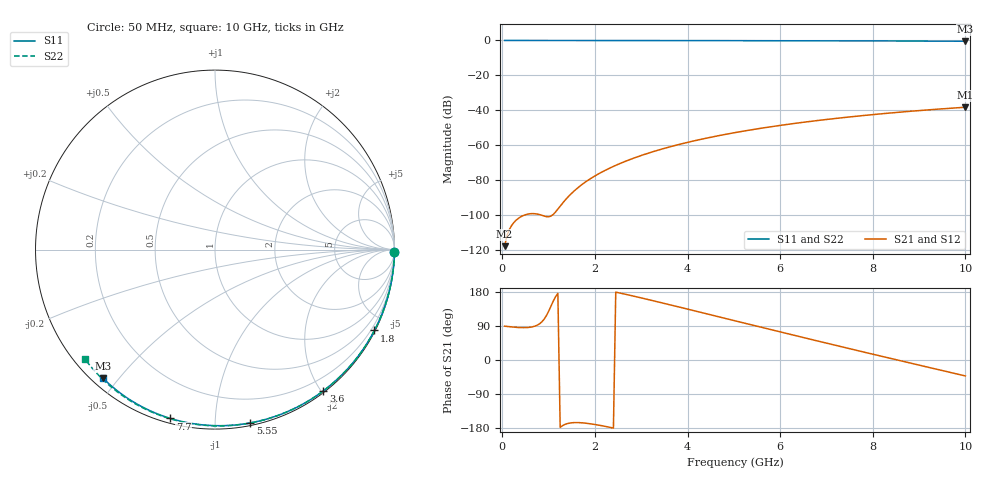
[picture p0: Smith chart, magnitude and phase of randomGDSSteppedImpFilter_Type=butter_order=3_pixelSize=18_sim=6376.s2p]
! freq	dB(S11)	phase(S11)	dB(S12)	phase(S12)
!  dB(S21)	phase(S21)	dB(S22)	phase(S22)
!S-par simulation data
#  GHz  S  DB  R 50
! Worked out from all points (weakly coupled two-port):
!   200 points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, 50 MHz to 10 GHz, reference 50 ohm
!   highest |S21| = -38.21 dB at 10 GHz (marker M1); lowest = -117.7 dB at 50 MHz (marker M2)
!   lowest |S11| = -0.4 dB at 10 GHz (marker M3), VSWR 38.93, Z = 1.55 - j22.7 ohm
!   |S11| at or under -10 dB: nowhere
!   |S22| runs from -0.5 to 0.0 dB; largest |S21 - S12| = 0
!   S11 on the Smith chart (normalised r, x): 50 MHz: open; 1.8 GHz: 0.04, -4.19; 3.6 GHz: 0.02, -2.03; 5.55 GHz: 0.02, -1.22; 7.7 GHz: 0.02, -0.77; 10 GHz: 0.03, -0.45
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0.05  -0.00 -0.8  -117.71 89.3  -117.71 89.3  -0.00 -0.8
0.45  -0.01 -6.8  -100.22 85.4  -100.22 85.4  -0.01 -7.3
0.9  -0.02 -13.6  -100.43 107.1  -100.43 107.1  -0.02 -14.5
1.75  -0.03 -26.1  -81.85 -166.1  -81.85 -166.1  -0.04 -28.0
1.8  -0.03 -26.9  -80.91 -166.7  -80.91 -166.7  -0.04 -28.7
1.85  -0.04 -27.6  -80.01 -167.5  -80.01 -167.5  -0.04 -29.5
2  -0.04 -29.8  -77.53 -170.2  -77.53 -170.2  -0.04 -31.9
2.15  -0.04 -32.0  -75.30 -173.4  -75.30 -173.4  -0.04 -34.2
2.35  -0.04 -34.9  -72.66 -178.3  -72.66 -178.3  -0.05 -37.3
2.55  -0.05 -37.8  -70.31 176.5  -70.31 176.5  -0.05 -40.3
2.95  -0.06 -43.5  -66.27 165.3  -66.27 165.3  -0.06 -46.4
3.4  -0.07 -49.8  -62.49 152.2  -62.49 152.2  -0.07 -53.2
3.6  -0.07 -52.6  -61.00 146.3  -61.00 146.3  -0.08 -56.1
4.3  -0.09 -62.1  -56.50 125.3  -56.50 125.3  -0.09 -66.3
5.05  -0.11 -72.0  -52.60 102.7  -52.60 102.7  -0.12 -76.8
5.55  -0.13 -78.5  -50.39 87.7  -50.39 87.7  -0.14 -83.6
6.1  -0.15 -85.5  -48.23 71.2  -48.23 71.2  -0.16 -91.0
6.7  -0.18 -92.9  -46.15 53.4  -46.15 53.4  -0.19 -98.9
7.7  -0.24 -104.8  -43.21 24.0  -43.21 24.0  -0.26 -111.6
8.35  -0.29 -112.4  -41.57 5.2  -41.57 5.2  -0.31 -119.7
9.2  -0.36 -122.1  -39.70 -19.2  -39.70 -19.2  -0.39 -130.1
10  -0.45 -131.1  -38.21 -42.1  -38.21 -42.1  -0.47 -139.8
